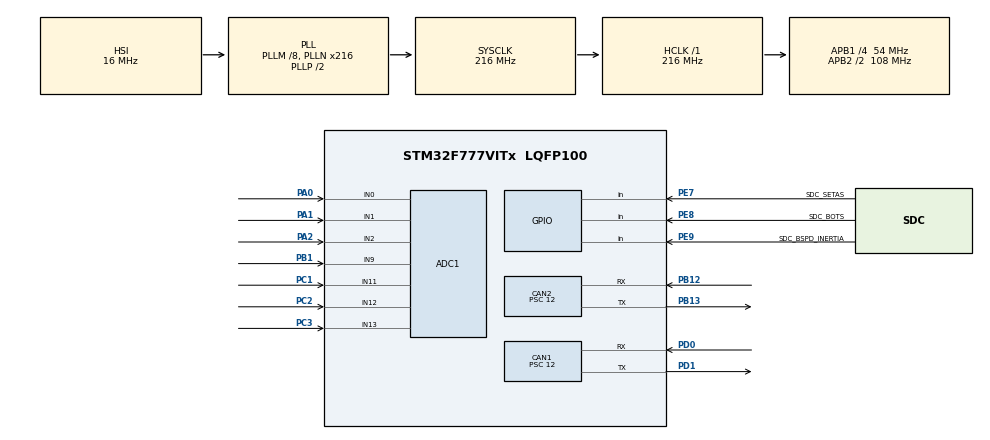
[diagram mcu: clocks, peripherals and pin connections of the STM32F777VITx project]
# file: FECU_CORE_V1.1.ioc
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ADC1.Channel-0\#ChannelRegularConversion=ADC_CHANNEL_0
ADC1.Channel-1\#ChannelRegularConversion=ADC_CHANNEL_1
ADC1.Channel-2\#ChannelRegularConversion=ADC_CHANNEL_2
ADC1.Channel-3\#ChannelRegularConversion=ADC_CHANNEL_9
ADC1.Channel-4\#ChannelRegularConversion=ADC_CHANNEL_11
ADC1.Channel-5\#ChannelRegularConversion=ADC_CHANNEL_12
ADC1.Channel-6\#ChannelRegularConversion=ADC_CHANNEL_13
ADC1.ContinuousConvMode=ENABLE
ADC1.DMAContinuousRequests=ENABLE
ADC1.EOCSelection=ADC_EOC_SEQ_CONV
ADC1.ExternalTrigConv=ADC_EXTERNALTRIGCONV_T5_TRGO
ADC1.NbrOfConversion=7
ADC1.NbrOfConversionFlag=1
ADC1.Rank-0\#ChannelRegularConversion=1
ADC1.Rank-1\#ChannelRegularConversion=2
ADC1.Rank-2\#ChannelRegularConversion=3
ADC1.Rank-3\#ChannelRegularConversion=4
ADC1.Rank-4\#ChannelRegularConversion=5
ADC1.Rank-5\#ChannelRegularConversion=6
ADC1.Rank-6\#ChannelRegularConversion=7
ADC1.SamplingTime-0\#ChannelRegularConversion=ADC_SAMPLETIME_480CYCLES
ADC1.SamplingTime-1\#ChannelRegularConversion=ADC_SAMPLETIME_480CYCLES
ADC1.SamplingTime-2\#ChannelRegularConversion=ADC_SAMPLETIME_480CYCLES
ADC1.SamplingTime-3\#ChannelRegularConversion=ADC_SAMPLETIME_480CYCLES
ADC1.SamplingTime-4\#ChannelRegularConversion=ADC_SAMPLETIME_480CYCLES
ADC1.SamplingTime-5\#ChannelRegularConversion=ADC_SAMPLETIME_480CYCLES
ADC1.SamplingTime-6\#ChannelRegularConversion=ADC_SAMPLETIME_480CYCLES
ADC1.ScanConvMode=ADC_SCAN_ENABLE
ADC1.master=1
CAN1.BS1=CAN_BS1_6TQ
CAN1.BS2=CAN_BS2_2TQ
CAN1.CalculateBaudRate=500000
CAN1.CalculateTimeBit=2000
CAN1.CalculateTimeQuantum=222.22222222222223
CAN1.Prescaler=12
CAN2.BS1=CAN_BS1_6TQ
CAN2.BS2=CAN_BS2_2TQ
CAN2.CalculateBaudRate=500000
CAN2.CalculateTimeBit=2000
CAN2.CalculateTimeQuantum=222.22222222222223
CAN2.Prescaler=12
CORTEX_M7.default_mode_Activation=1
Dma.ADC1.0.Direction=DMA_PERIPH_TO_MEMORY
Dma.ADC1.0.FIFOMode=DMA_FIFOMODE_DISABLE
Dma.ADC1.0.Instance=DMA2_Stream0
Dma.ADC1.0.MemDataAlignment=DMA_MDATAALIGN_HALFWORD
Dma.ADC1.0.MemInc=DMA_MINC_ENABLE
Dma.ADC1.0.Mode=DMA_CIRCULAR
Dma.ADC1.0.PeriphDataAlignment=DMA_PDATAALIGN_HALFWORD
Dma.ADC1.0.PeriphInc=DMA_PINC_DISABLE
Dma.ADC1.0.Priority=DMA_PRIORITY_LOW
Dma.Request0=ADC1
Mcu.Family=STM32F7
Mcu.Name=STM32F777VITx
Mcu.Package=LQFP100
NVIC.CAN1_RX0_IRQn=true\:6\:0\:true\:false\:true\:true\:true\:true
NVIC.CAN1_RX1_IRQn=true\:6\:0\:true\:false\:true\:true\:true\:true
NVIC.CAN1_SCE_IRQn=true\:6\:0\:true\:false\:true\:true\:true\:true
NVIC.CAN1_TX_IRQn=true\:6\:0\:true\:false\:true\:true\:true\:true
NVIC.CAN2_RX0_IRQn=true\:5\:0\:true\:false\:true\:true\:true\:true
NVIC.CAN2_RX1_IRQn=true\:5\:0\:true\:false\:true\:true\:true\:true
NVIC.CAN2_SCE_IRQn=true\:5\:0\:true\:false\:true\:true\:true\:true
NVIC.CAN2_TX_IRQn=true\:5\:0\:true\:false\:true\:true\:true\:true
NVIC.DMA2_Stream0_IRQn=true\:4\:0\:true\:false\:true\:false\:true\:true
NVIC.PriorityGroup=NVIC_PRIORITYGROUP_4
NVIC.TIM8_TRG_COM_TIM14_IRQn=true\:4\:0\:true\:false\:true\:true\:true\:true
PA0/WKUP.Signal=ADCx_IN0
PA1.Signal=ADCx_IN1
PA2.Signal=ADCx_IN2
PB1.Signal=ADCx_IN9
PB12.Mode=CAN_Activate
PB12.Signal=CAN2_RX
PB13.Mode=CAN_Activate
PB13.Signal=CAN2_TX
PC1.Signal=ADCx_IN11
PC2.Signal=ADCx_IN12
PC3.Signal=ADCx_IN13
PD0.Mode=CAN_Activate
PD0.Signal=CAN1_RX
PD1.Mode=CAN_Activate
PD1.Signal=CAN1_TX
PE7.GPIO_Label=SDC_SETAS
PE7.Signal=GPIO_Input
PE8.GPIO_Label=SDC_BOTS
PE8.Signal=GPIO_Input
PE9.GPIO_Label=SDC_BSPD_INERTIA
PE9.Signal=GPIO_Input
PH0/OSC_IN.Mode=HSE-External-Oscillator
PH0/OSC_IN.Signal=RCC_OSC_IN
PH1/OSC_OUT.Mode=HSE-External-Oscillator
PH1/OSC_OUT.Signal=RCC_OSC_OUT
ProjectManager.HeapSize=0x200
ProjectManager.StackSize=0x400
ProjectManager.TargetToolchain=STM32CubeIDE
RCC.AHBFreq_Value=216000000
RCC.APB1CLKDivider=RCC_HCLK_DIV4
RCC.APB1Freq_Value=54000000
RCC.APB1TimFreq_Value=108000000
RCC.APB2CLKDivider=RCC_HCLK_DIV2
RCC.APB2Freq_Value=108000000
RCC.APB2TimFreq_Value=216000000
RCC.CortexFreq_Value=216000000
RCC.HCLKFreq_Value=216000000
RCC.HSE_VALUE=25000000
RCC.HSI_VALUE=16000000
RCC.LSE_VALUE=32768
RCC.PLLM=8
RCC.PLLN=216
RCC.SYSCLKFreq_VALUE=216000000
RCC.SYSCLKSource=RCC_SYSCLKSOURCE_PLLCLK
RCC.USBFreq_Value=216000000
RCC.VCOOutputFreq_Value=432000000
SH.ADCx_IN0.0=ADC1_IN0,IN0
SH.ADCx_IN1.0=ADC1_IN1,IN1
SH.ADCx_IN11.0=ADC1_IN11,IN11
SH.ADCx_IN12.0=ADC1_IN12,IN12
SH.ADCx_IN13.0=ADC1_IN13,IN13
SH.ADCx_IN2.0=ADC1_IN2,IN2
SH.ADCx_IN9.0=ADC1_IN9,IN9
TIM14.Period=1000
TIM14.Prescaler=216-1
TIM5.Period=27000-1
TIM5.Prescaler=10-1
TIM5.TIM_MasterOutputTrigger=TIM_TRGO_UPDATE
TIM5.TIM_MasterSlaveMode=TIM_MASTERSLAVEMODE_ENABLE
VP_TIM14_VS_ClockSourceINT.Mode=Enable_Timer
VP_TIM5_VS_ClockSourceINT.Mode=Internal
board=custom

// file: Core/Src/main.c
/* USER CODE BEGIN Header */
/**
  ******************************************************************************
  * @file           : main.c
  * @brief          : Main program body
  ******************************************************************************
  * @attention
  *
  * Copyright (c) 2024 STMicroelectronics.
  * All rights reserved.
  *
  * This software is licensed under terms that can be found in the LICENSE file
  * in the root directory of this software component.
  * If no LICENSE file comes with this software, it is provided AS-IS.
  *
  ******************************************************************************
  */
/* USER CODE END Header */
#include "main.h"

/* USER CODE BEGIN Includes */
#include "eTechRacing_Filters.h"
#include "can_comunication.h"
/* USER CODE END Includes */

ADC_HandleTypeDef hadc1;
DMA_HandleTypeDef hdma_adc1;

CAN_HandleTypeDef hcan1;
CAN_HandleTypeDef hcan2;

TIM_HandleTypeDef htim5;
TIM_HandleTypeDef htim14;

void SystemClock_Config(void);
static void MPU_Config(void);
static void MX_GPIO_Init(void);
static void MX_DMA_Init(void);
static void MX_ADC1_Init(void);
static void MX_TIM5_Init(void);
static void MX_CAN1_Init(void);
static void MX_CAN2_Init(void);
static void MX_TIM14_Init(void);

/* USER CODE BEGIN 0 */
uint16_t adc_buffer[7];
uint16_t APPS1[2];
uint16_t APPS2[2];
uint16_t APPS2_OK;
uint16_t BrakePedal[2];
uint16_t SteeringSensor[2];
uint16_t Susp_F_R[2];
uint16_t Susp_F_L[2];
uint16_t PitotSensor[2];

CAN_RxHeaderTypeDef RxHeader;
CAN_TxHeaderTypeDef TxHeader;
CAN_FilterTypeDef canfil;
CAN_FilterTypeDef canfil2;
uint8_t RxData[8];
uint8_t TxData[8];

uint8_t msg=0;

uint8_t Keep_Alive = 0;
/* USER CODE END 0 */

int main(void)
{

  /* MPU Configuration--------------------------------------------------------*/
  MPU_Config();

  /* MCU Configuration--------------------------------------------------------*/

  /* Reset of all peripherals, Initializes the Flash interface and the Systick. */
  HAL_Init();

  /* Configure the system clock */
  SystemClock_Config();

  /* Initialize all configured peripherals */
  MX_GPIO_Init();
  MX_DMA_Init();
  MX_ADC1_Init();
  MX_TIM5_Init();
  MX_CAN1_Init();
  MX_CAN2_Init();
  MX_TIM14_Init();
  /* USER CODE BEGIN 2 */

  CAN1_FILTER_INIT(&canfil);												//CAN 1 Filter
  CAN2_FILTER_INIT(&canfil2);											//CAN 2 Filter

  CAN1_CONFIG_INIT(canfil, hcan1);										//CAN 1 Configuration - Initialization
  CAN2_CONFIG_INIT(canfil2, hcan2);

  HAL_ADC_Start_DMA(&hadc1,(uint32_t*) adc_buffer, 7);
  HAL_TIM_Base_Start_IT(&htim14);
  HAL_TIM_Base_Start(&htim5);

  /* USER CODE END 2 */

  /* Infinite loop */
  while (1)
  {

  }
}

void SystemClock_Config(void)
{
  RCC_OscInitTypeDef RCC_OscInitStruct = {0};
  RCC_ClkInitTypeDef RCC_ClkInitStruct = {0};

  /** Configure the main internal regulator output voltage
  */
  __HAL_RCC_PWR_CLK_ENABLE();
  __HAL_PWR_VOLTAGESCALING_CONFIG(PWR_REGULATOR_VOLTAGE_SCALE1);

  /** Initializes the RCC Oscillators according to the specified parameters
  * in the RCC_OscInitTypeDef structure.
  */
  RCC_OscInitStruct.OscillatorType = RCC_OSCILLATORTYPE_HSI;
  RCC_OscInitStruct.HSIState = RCC_HSI_ON;
  RCC_OscInitStruct.HSICalibrationValue = RCC_HSICALIBRATION_DEFAULT;
  RCC_OscInitStruct.PLL.PLLState = RCC_PLL_ON;
  RCC_OscInitStruct.PLL.PLLSource = RCC_PLLSOURCE_HSI;
  RCC_OscInitStruct.PLL.PLLM = 8;
  RCC_OscInitStruct.PLL.PLLN = 216;
  RCC_OscInitStruct.PLL.PLLP = RCC_PLLP_DIV2;
  RCC_OscInitStruct.PLL.PLLQ = 2;
  RCC_OscInitStruct.PLL.PLLR = 2;
  if (HAL_RCC_OscConfig(&RCC_OscInitStruct) != HAL_OK)
  {
    Error_Handler();
  }

  /** Activate the Over-Drive mode
  */
  if (HAL_PWREx_EnableOverDrive() != HAL_OK)
  {
    Error_Handler();
  }

  /** Initializes the CPU, AHB and APB buses clocks
  */
  RCC_ClkInitStruct.ClockType = RCC_CLOCKTYPE_HCLK|RCC_CLOCKTYPE_SYSCLK
                              |RCC_CLOCKTYPE_PCLK1|RCC_CLOCKTYPE_PCLK2;
  RCC_ClkInitStruct.SYSCLKSource = RCC_SYSCLKSOURCE_PLLCLK;
  RCC_ClkInitStruct.AHBCLKDivider = RCC_SYSCLK_DIV1;
  RCC_ClkInitStruct.APB1CLKDivider = RCC_HCLK_DIV4;
  RCC_ClkInitStruct.APB2CLKDivider = RCC_HCLK_DIV2;

  if (HAL_RCC_ClockConfig(&RCC_ClkInitStruct, FLASH_LATENCY_7) != HAL_OK)
  {
    Error_Handler();
  }
}

static void MX_ADC1_Init(void)
{

  ADC_ChannelConfTypeDef sConfig = {0};

  /** Configure the global features of the ADC (Clock, Resolution, Data Alignment and number of conversion)
  */
  hadc1.Instance = ADC1;
  hadc1.Init.ClockPrescaler = ADC_CLOCK_SYNC_PCLK_DIV4;
  hadc1.Init.Resolution = ADC_RESOLUTION_12B;
  hadc1.Init.ScanConvMode = ADC_SCAN_ENABLE;
  hadc1.Init.ContinuousConvMode = ENABLE;
  hadc1.Init.DiscontinuousConvMode = DISABLE;
  hadc1.Init.ExternalTrigConvEdge = ADC_EXTERNALTRIGCONVEDGE_RISING;
  hadc1.Init.ExternalTrigConv = ADC_EXTERNALTRIGCONV_T5_TRGO;
  hadc1.Init.DataAlign = ADC_DATAALIGN_RIGHT;
  hadc1.Init.NbrOfConversion = 7;
  hadc1.Init.DMAContinuousRequests = ENABLE;
  hadc1.Init.EOCSelection = ADC_EOC_SEQ_CONV;
  if (HAL_ADC_Init(&hadc1) != HAL_OK)
  {
    Error_Handler();
  }

  /** Configure for the selected ADC regular channel its corresponding rank in the sequencer and its sample time.
  */
  sConfig.Channel = ADC_CHANNEL_0;
  sConfig.Rank = ADC_REGULAR_RANK_1;
  sConfig.SamplingTime = ADC_SAMPLETIME_480CYCLES;
  if (HAL_ADC_ConfigChannel(&hadc1, &sConfig) != HAL_OK)
  {
    Error_Handler();
  }

  /** Configure for the selected ADC regular channel its corresponding rank in the sequencer and its sample time.
  */
  sConfig.Channel = ADC_CHANNEL_1;
  sConfig.Rank = ADC_REGULAR_RANK_2;
  if (HAL_ADC_ConfigChannel(&hadc1, &sConfig) != HAL_OK)
  {
    Error_Handler();
  }

  /** Configure for the selected ADC regular channel its corresponding rank in the sequencer and its sample time.
  */
  sConfig.Channel = ADC_CHANNEL_2;
  sConfig.Rank = ADC_REGULAR_RANK_3;
  if (HAL_ADC_ConfigChannel(&hadc1, &sConfig) != HAL_OK)
  {
    Error_Handler();
  }

  /** Configure for the selected ADC regular channel its corresponding rank in the sequencer and its sample time.
  */
  sConfig.Channel = ADC_CHANNEL_9;
  sConfig.Rank = ADC_REGULAR_RANK_4;
  if (HAL_ADC_ConfigChannel(&hadc1, &sConfig) != HAL_OK)
  {
    Error_Handler();
  }

  /** Configure for the selected ADC regular channel its corresponding rank in the sequencer and its sample time.
  */
  sConfig.Channel = ADC_CHANNEL_11;
  sConfig.Rank = ADC_REGULAR_RANK_5;
  if (HAL_ADC_ConfigChannel(&hadc1, &sConfig) != HAL_OK)
  {
    Error_Handler();
  }

  /** Configure for the selected ADC regular channel its corresponding rank in the sequencer and its sample time.
  */
  sConfig.Channel = ADC_CHANNEL_12;
  sConfig.Rank = ADC_REGULAR_RANK_6;
  if (HAL_ADC_ConfigChannel(&hadc1, &sConfig) != HAL_OK)
  {
    Error_Handler();
  }

  /** Configure for the selected ADC regular channel its corresponding rank in the sequencer and its sample time.
  */
  sConfig.Channel = ADC_CHANNEL_13;
  sConfig.Rank = ADC_REGULAR_RANK_7;
  if (HAL_ADC_ConfigChannel(&hadc1, &sConfig) != HAL_OK)
  {
    Error_Handler();
  }

}

static void MX_CAN1_Init(void)
{

  hcan1.Instance = CAN1;
  hcan1.Init.Prescaler = 12;
  hcan1.Init.Mode = CAN_MODE_NORMAL;
  hcan1.Init.SyncJumpWidth = CAN_SJW_1TQ;
  hcan1.Init.TimeSeg1 = CAN_BS1_6TQ;
  hcan1.Init.TimeSeg2 = CAN_BS2_2TQ;
  hcan1.Init.TimeTriggeredMode = DISABLE;
  hcan1.Init.AutoBusOff = DISABLE;
  hcan1.Init.AutoWakeUp = DISABLE;
  hcan1.Init.AutoRetransmission = DISABLE;
  hcan1.Init.ReceiveFifoLocked = DISABLE;
  hcan1.Init.TransmitFifoPriority = DISABLE;
  if (HAL_CAN_Init(&hcan1) != HAL_OK)
  {
    Error_Handler();
  }

}

static void MX_CAN2_Init(void)
{

  hcan2.Instance = CAN2;
  hcan2.Init.Prescaler = 12;
  hcan2.Init.Mode = CAN_MODE_NORMAL;
  hcan2.Init.SyncJumpWidth = CAN_SJW_1TQ;
  hcan2.Init.TimeSeg1 = CAN_BS1_6TQ;
  hcan2.Init.TimeSeg2 = CAN_BS2_2TQ;
  hcan2.Init.TimeTriggeredMode = DISABLE;
  hcan2.Init.AutoBusOff = DISABLE;
  hcan2.Init.AutoWakeUp = DISABLE;
  hcan2.Init.AutoRetransmission = DISABLE;
  hcan2.Init.ReceiveFifoLocked = DISABLE;
  hcan2.Init.TransmitFifoPriority = DISABLE;
  if (HAL_CAN_Init(&hcan2) != HAL_OK)
  {
    Error_Handler();
  }

}

static void MX_TIM5_Init(void)
{

  TIM_ClockConfigTypeDef sClockSourceConfig = {0};
  TIM_MasterConfigTypeDef sMasterConfig = {0};

  htim5.Instance = TIM5;
  htim5.Init.Prescaler = 10-1;
  htim5.Init.CounterMode = TIM_COUNTERMODE_UP;
  htim5.Init.Period = 27000-1;
  htim5.Init.ClockDivision = TIM_CLOCKDIVISION_DIV1;
  htim5.Init.AutoReloadPreload = TIM_AUTORELOAD_PRELOAD_DISABLE;
  if (HAL_TIM_Base_Init(&htim5) != HAL_OK)
  {
    Error_Handler();
  }
  sClockSourceConfig.ClockSource = TIM_CLOCKSOURCE_INTERNAL;
  if (HAL_TIM_ConfigClockSource(&htim5, &sClockSourceConfig) != HAL_OK)
  {
    Error_Handler();
  }
  sMasterConfig.MasterOutputTrigger = TIM_TRGO_UPDATE;
  sMasterConfig.MasterSlaveMode = TIM_MASTERSLAVEMODE_ENABLE;
  if (HAL_TIMEx_MasterConfigSynchronization(&htim5, &sMasterConfig) != HAL_OK)
  {
    Error_Handler();
  }

}

static void MX_TIM14_Init(void)
{

  htim14.Instance = TIM14;
  htim14.Init.Prescaler = 216-1;
  htim14.Init.CounterMode = TIM_COUNTERMODE_UP;
  htim14.Init.Period = 1000;
  htim14.Init.ClockDivision = TIM_CLOCKDIVISION_DIV1;
  htim14.Init.AutoReloadPreload = TIM_AUTORELOAD_PRELOAD_DISABLE;
  if (HAL_TIM_Base_Init(&htim14) != HAL_OK)
  {
    Error_Handler();
  }

}

static void MX_DMA_Init(void)
{

  /* DMA controller clock enable */
  __HAL_RCC_DMA2_CLK_ENABLE();

  /* DMA interrupt init */
  /* DMA2_Stream0_IRQn interrupt configuration */
  HAL_NVIC_SetPriority(DMA2_Stream0_IRQn, 4, 0);
  HAL_NVIC_EnableIRQ(DMA2_Stream0_IRQn);

}

static void MX_GPIO_Init(void)
{
  GPIO_InitTypeDef GPIO_InitStruct = {0};

  /* GPIO Ports Clock Enable */
  __HAL_RCC_GPIOH_CLK_ENABLE();
  __HAL_RCC_GPIOC_CLK_ENABLE();
  __HAL_RCC_GPIOA_CLK_ENABLE();
  __HAL_RCC_GPIOB_CLK_ENABLE();
  __HAL_RCC_GPIOE_CLK_ENABLE();
  __HAL_RCC_GPIOD_CLK_ENABLE();

  /*Configure GPIO pins : SDC_SETAS_Pin SDC_BOTS_Pin SDC_BSPD_INERTIA_Pin */
  GPIO_InitStruct.Pin = SDC_SETAS_Pin|SDC_BOTS_Pin|SDC_BSPD_INERTIA_Pin;
  GPIO_InitStruct.Mode = GPIO_MODE_INPUT;
  GPIO_InitStruct.Pull = GPIO_NOPULL;
  HAL_GPIO_Init(GPIOE, &GPIO_InitStruct);

}

/* USER CODE BEGIN 4 */
void HAL_TIM_PeriodElapsedCallback(TIM_HandleTypeDef *htim)
{
  if (htim->Instance == TIM14)
  {

	  switch(msg){
	  case 1:
		  	  	  message_cantx_FECU_SDC(hcan2, HAL_GPIO_ReadPin(SDC_SETAS_GPIO_Port, SDC_SETAS_Pin), HAL_GPIO_ReadPin(SDC_BOTS_GPIO_Port, SDC_BOTS_Pin),HAL_GPIO_ReadPin(SDC_BSPD_INERTIA_GPIO_Port, SDC_BSPD_INERTIA_Pin), TxData, TxHeader);
	 	    	  message_cantx_FECU_Keep_Alive(hcan2, Keep_Alive, TxData, TxHeader);
	              message_cantx_FECU_Data1(hcan2, APPS1[0], APPS2_OK, BrakePedal[0], SteeringSensor[0], TxData, TxHeader);
	              Keep_Alive++;
	              msg=2;
	         break;
	  case 2:
	              message_cantx_FECU_Data2(hcan2, Susp_F_R[0], Susp_F_L[0], PitotSensor[0], TxData, TxHeader);
	              msg=0;
	        break;
	  }
  }
}
void HAL_CAN_RxFifo0MsgPendingCallback(CAN_HandleTypeDef *hcan)
 {
 	//Lectura del missatge rebut
	   if(HAL_CAN_GetRxMessage(hcan, CAN_RX_FIFO0, &RxHeader, RxData) != HAL_OK){
	   	   Error_Handler();
	      }
	      if(RxHeader.StdId == ETAS_SYNC){
	         msg=1;
	      }
 }
void HAL_CAN_RxFifo1MsgPendingCallback(CAN_HandleTypeDef *hcan)
 {
   if(HAL_CAN_GetRxMessage(hcan, CAN_RX_FIFO1, &RxHeader, RxData) != HAL_OK){
   }

	      if(RxHeader.StdId == ETAS_SYNC){
	         msg=1;
	      }
 }

void HAL_ADC_ConvCpltCallback(ADC_HandleTypeDef *hadc){

	   APPS1[0] = adc_buffer[0];
	   applyLowPassFilter(APPS1);
	   	  APPS2[0] = adc_buffer[1];
	   	applyLowPassFilter(APPS2);
	   	APPS2_OK=(4095-APPS2[0])/2;
	   	  BrakePedal[0] = adc_buffer[2];
	   	applyLowPassFilter(BrakePedal);
	   	  PitotSensor[0] = adc_buffer[3];
	   	applyLowPassFilter(PitotSensor);
	   	  SteeringSensor[0] = adc_buffer[4];
	   	applyLowPassFilter(SteeringSensor);
	   	  Susp_F_R[0] = adc_buffer[5];
	   	applyLowPassFilter(Susp_F_R);
	   	  Susp_F_L[0] = adc_buffer[6];
	   	applyLowPassFilter(Susp_F_L);
}
/* USER CODE END 4 */

 /* MPU Configuration */

void MPU_Config(void)
{
  MPU_Region_InitTypeDef MPU_InitStruct = {0};

  /* Disables the MPU */
  HAL_MPU_Disable();

  /** Initializes and configures the Region and the memory to be protected
  */
  MPU_InitStruct.Enable = MPU_REGION_ENABLE;
  MPU_InitStruct.Number = MPU_REGION_NUMBER0;
  MPU_InitStruct.BaseAddress = 0x0;
  MPU_InitStruct.Size = MPU_REGION_SIZE_4GB;
  MPU_InitStruct.SubRegionDisable = 0x87;
  MPU_InitStruct.TypeExtField = MPU_TEX_LEVEL0;
  MPU_InitStruct.AccessPermission = MPU_REGION_NO_ACCESS;
  MPU_InitStruct.DisableExec = MPU_INSTRUCTION_ACCESS_DISABLE;
  MPU_InitStruct.IsShareable = MPU_ACCESS_SHAREABLE;
  MPU_InitStruct.IsCacheable = MPU_ACCESS_NOT_CACHEABLE;
  MPU_InitStruct.IsBufferable = MPU_ACCESS_NOT_BUFFERABLE;

  HAL_MPU_ConfigRegion(&MPU_InitStruct);
  /* Enables the MPU */
  HAL_MPU_Enable(MPU_PRIVILEGED_DEFAULT);

}

void Error_Handler(void)
{
  __disable_irq();
  while (1)
  {
  }
}
